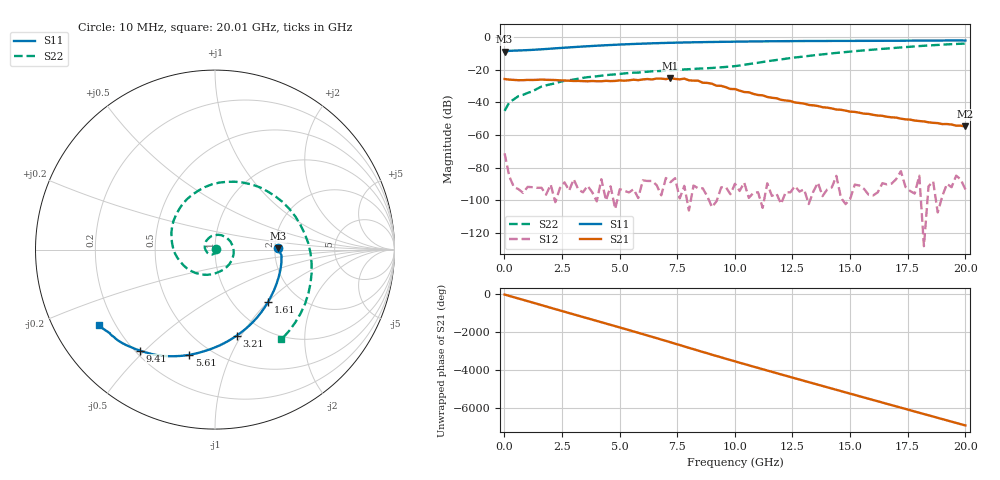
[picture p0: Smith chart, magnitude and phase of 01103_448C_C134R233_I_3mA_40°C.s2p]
!;Filter: kein Filter
!auto
!3/21/2019 9:27:07 AM
!3/21/2019 9:27:22 AM
!SP-Measurements Prober G4
!SP-Measurements Prober G4
!01103_448C
!134
!233
!12
!40
!-20
!0.00299959
!1.83
!0.38139174
!0.38139174
# Hz S  RI  R 50
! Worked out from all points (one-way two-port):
!   101 points, 10 MHz to 20.01 GHz, reference 50 ohm
!   highest |S21| = -25.26 dB at 7.21 GHz (marker M1); lowest = -54.9 dB at 20.01 GHz (marker M2)
!   lowest |S11| = -9.1 dB at 10 MHz (marker M3), VSWR 2.09, Z = 104 + j1.81 ohm
!   |S11| at or under -10 dB: nowhere
!   |S22| runs from -45.3 to -4.1 dB; largest |S21 - S12| = 0.055
!   S11 on the Smith chart (normalised r, x): 10 MHz: 2.08, +0.04; 1.61 GHz: 1.43, -1.00; 3.21 GHz: 0.75, -0.96; 5.61 GHz: 0.38, -0.71; 9.41 GHz: 0.22, -0.48; 20.01 GHz: 0.14, -0.29
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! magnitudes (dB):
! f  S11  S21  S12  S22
! 10 MHz  -9.1  -25.8  -71.2  -45.3
! 210 MHz  -8.6  -26.2  -85.2  -40.2
! 610 MHz  -8.4  -26.5  -93.2  -36.3
! 1.21 GHz  -8.0  -26.4  -92.0  -33.5
! 1.61 GHz  -7.6  -26.1  -92.3  -30.5
! 2.61 GHz  -6.7  -26.7  -89.0  -26.9
! 3.21 GHz  -6.1  -27.0  -93.4  -25.6
! 3.41 GHz  -5.9  -27.1  -95.1  -25.1
! 4.61 GHz  -5.0  -27.1  -91.4  -23.2
! 5.61 GHz  -4.4  -26.2  -93.2  -22.0
! 6.81 GHz  -3.8  -25.6  -97.0  -20.9
! 7.01 GHz  -3.7  -25.9  -86.4  -20.7
! 7.21 GHz  -3.7  -25.3  -88.9  -20.5
! 8.41 GHz  -3.3  -26.8  -92.7  -19.5
! 8.61 GHz  -3.3  -28.1  -92.7  -19.4
! 9.41 GHz  -3.1  -30.0  -92.1  -18.7
! 9.81 GHz  -3.0  -31.9  -96.3  -18.2
! 10.01 GHz  -3.0  -32.0  -89.9  -17.9
! 11.41 GHz  -2.7  -36.8  -89.6  -15.0
! 13.41 GHz  -2.6  -41.9  -94.6  -11.4
! 16.81 GHz  -2.4  -49.2  -89.8  -7.0
! 20.01 GHz  -2.3  -54.9  -93.4  -4.1
